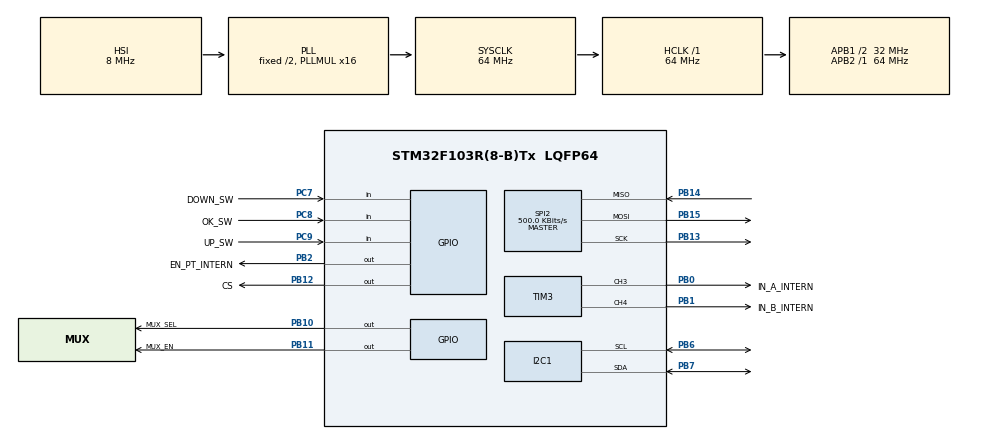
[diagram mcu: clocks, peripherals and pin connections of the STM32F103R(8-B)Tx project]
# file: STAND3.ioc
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Mcu.Family=STM32F1
Mcu.Name=STM32F103R(8-B)Tx
Mcu.Package=LQFP64
NVIC.PriorityGroup=NVIC_PRIORITYGROUP_4
PA13.Mode=Serial_Wire
PA13.Signal=SYS_JTMS-SWDIO
PA14.Mode=Serial_Wire
PA14.Signal=SYS_JTCK-SWCLK
PB0.GPIO_Label=IN_A_INTERN
PB0.Signal=S_TIM3_CH3
PB1.GPIO_Label=IN_B_INTERN
PB1.Signal=S_TIM3_CH4
PB10.GPIO_Label=MUX_SEL
PB10.Signal=GPIO_Output
PB11.GPIO_Label=MUX_EN
PB11.PinState=GPIO_PIN_SET
PB11.Signal=GPIO_Output
PB12.GPIO_Label=CS
PB12.PinState=GPIO_PIN_SET
PB12.Signal=GPIO_Output
PB13.Mode=Full_Duplex_Master
PB13.Signal=SPI2_SCK
PB14.Mode=Full_Duplex_Master
PB14.Signal=SPI2_MISO
PB15.Mode=Full_Duplex_Master
PB15.Signal=SPI2_MOSI
PB2.GPIO_Label=EN_PT_INTERN
PB2.Signal=GPIO_Output
PB6.Mode=I2C
PB6.Signal=I2C1_SCL
PB7.Mode=I2C
PB7.Signal=I2C1_SDA
PC7.GPIO_Label=DOWN_SW
PC7.GPIO_PuPd=GPIO_PULLDOWN
PC7.Signal=GPIO_Input
PC8.GPIO_Label=OK_SW
PC8.GPIO_PuPd=GPIO_PULLDOWN
PC8.Signal=GPIO_Input
PC9.GPIO_Label=UP_SW
PC9.GPIO_PuPd=GPIO_PULLDOWN
PC9.Signal=GPIO_Input
ProjectManager.HeapSize=0x200
ProjectManager.StackSize=0x400
ProjectManager.TargetToolchain=EWARM V8.32
RCC.AHBFreq_Value=64000000
RCC.APB1CLKDivider=RCC_HCLK_DIV2
RCC.APB1Freq_Value=32000000
RCC.APB1TimFreq_Value=64000000
RCC.APB2Freq_Value=64000000
RCC.APB2TimFreq_Value=64000000
RCC.HCLKFreq_Value=64000000
RCC.PLLMUL=RCC_PLL_MUL16
RCC.SYSCLKFreq_VALUE=64000000
RCC.SYSCLKSource=RCC_SYSCLKSOURCE_PLLCLK
RCC.USBFreq_Value=64000000
SH.S_TIM3_CH3.0=TIM3_CH3,PWM Generation3 CH3
SH.S_TIM3_CH4.0=TIM3_CH4,PWM Generation4 CH4
SPI2.BaudRatePrescaler=SPI_BAUDRATEPRESCALER_64
SPI2.CLKPhase=SPI_PHASE_2EDGE
SPI2.CalculateBaudRate=500.0 KBits/s
SPI2.Direction=SPI_DIRECTION_2LINES
SPI2.Mode=SPI_MODE_MASTER
SPI2.VirtualType=VM_MASTER
TIM3.Channel-PWM\ Generation3\ CH3=TIM_CHANNEL_3
TIM3.Channel-PWM\ Generation4\ CH4=TIM_CHANNEL_4
board=custom

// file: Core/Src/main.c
/* USER CODE BEGIN Header */
/**
  ******************************************************************************
  * @file           : main.c
  * @brief          : Stand3 - Peltier temperature controller
  *                   MAX31865 RTD sensor, H-bridge Peltier drive,
  *                   SSD1306 OLED menu, PID temperature control.
  ******************************************************************************
  */
/* USER CODE END Header */
#include "main.h"
#include "i2c.h"
#include "spi.h"
#include "tim.h"
#include "gpio.h"

/* USER CODE BEGIN Includes */
#include "u8g2.h"
#include "config_menu.h"
#include "max31865.h"
#include <stdio.h>
#include <string.h>
#include <math.h>
/* USER CODE END Includes */

/* USER CODE BEGIN PD */
#define I2C_ADDRESS  0x3C

/* MUX control */
#define MUX_EN_ACTIVE_HIGH  0u

/* Buttons */
#define LONG_PRESS_TIME_MS    1000u
#define DEBOUNCE_STABLE_COUNT 1u

/* PID update interval */
#define PID_UPDATE_MS  1000u
/* USER CODE END PD */

/* USER CODE BEGIN PM */
#define READ_PIN(port,pin)  (HAL_GPIO_ReadPin((port),(pin)) == GPIO_PIN_SET)
/* USER CODE END PM */

/* USER CODE BEGIN PV */

/* ---- Temperature from MAX31865 ---- */
static float    g_temp_celsius = 0.0f;
static uint16_t g_rtd_raw = 0;
static uint8_t  g_rtd_fault = 0;

/* ---- MAX31865 device handle ---- */
static Max31865_t g_max31865;

/* ---- Bidirectional PID Controller ---- */
typedef struct {
    float Kp, Ki, Kd;
    float integral;
    float prev_measurement; /* derivative on measurement, not error */
    float output;           /* -95..+95: negative=cool, positive=heat */
    uint8_t first;          /* first cycle flag */
} pid_ctrl_t;

static pid_ctrl_t g_pid = {
    .Kp = 6.0f,
    .Ki = 0.1f,
    .Kd = 2.0f,
    .integral = 0.0f,
    .prev_measurement = 0.0f,
    .output = 0.0f,
    .first = 1,
};

/* USER CODE END PV */

void SystemClock_Config(void);

/* USER CODE BEGIN 0 */

/* =======================================================================
   U8G2 I2C callbacks  (identical to Stand1/Stand2)
   ======================================================================= */
uint8_t u8x8_byte_stm32hal_hw_i2c(u8x8_t *u8x8, uint8_t msg,
                                    uint8_t arg_int, void *arg_ptr)
{
  (void)u8x8;
  static uint8_t buffer[32];
  static uint8_t buf_idx;
  uint8_t *data;

  switch (msg)
  {
    case U8X8_MSG_BYTE_SEND:
      data = (uint8_t *)arg_ptr;
      while (arg_int-- > 0) {
        if (buf_idx < sizeof(buffer)) buffer[buf_idx++] = *data;
        data++;
      }
      return 1;

    case U8X8_MSG_BYTE_START_TRANSFER:
      buf_idx = 0;
      return 1;

    case U8X8_MSG_BYTE_END_TRANSFER:
    {
      uint8_t iaddr = I2C_ADDRESS;
      (void)HAL_I2C_Master_Transmit(&hi2c1, (uint16_t)iaddr << 1,
                                     buffer, buf_idx, 50u);
      return 1;
    }
    default:
      return 1;
  }
}

uint8_t psoc_gpio_and_delay_cb(u8x8_t *u8x8, uint8_t msg,
                                uint8_t arg_int, void *arg_ptr)
{
  (void)u8x8; (void)arg_ptr;
  switch (msg)
  {
    case U8X8_MSG_GPIO_AND_DELAY_INIT: return 1;
    case U8X8_MSG_DELAY_NANO:
    {
      volatile uint32_t n = (uint32_t)arg_int * 10u;
      while (n--) ;
      return 1;
    }
    case U8X8_MSG_DELAY_MILLI:
      HAL_Delay((uint32_t)arg_int);
      return 1;
    default:
      u8x8_SetGPIOResult(u8x8, 1);
      return 1;
  }
}

/* =======================================================================
   Buttons  (3 buttons: UP, DOWN, OK)
   ======================================================================= */
typedef enum {
  BTN_NONE = 0,
  BTN_UP   = (1u << 0),
  BTN_DOWN = (1u << 1),
  BTN_OK   = (1u << 2),
} btn_mask_t;

static btn_mask_t buttons_read_raw(void)
{
  btn_mask_t m = BTN_NONE;
  if (READ_PIN(UP_SW_GPIO_Port,   UP_SW_Pin))   m |= BTN_UP;
  if (READ_PIN(DOWN_SW_GPIO_Port, DOWN_SW_Pin))  m |= BTN_DOWN;
  if (READ_PIN(OK_SW_GPIO_Port,   OK_SW_Pin))    m |= BTN_OK;
  return m;
}

static btn_mask_t buttons_get_pressed_edge(void)
{
  static btn_mask_t last_stable = BTN_NONE;
  static btn_mask_t last_raw    = BTN_NONE;
  static uint8_t    stable_cnt  = 0;

  btn_mask_t now_raw = buttons_read_raw();

  if (now_raw == last_raw) {
    if (stable_cnt < DEBOUNCE_STABLE_COUNT) stable_cnt++;
  } else {
    stable_cnt = 0;
    last_raw = now_raw;
  }

  btn_mask_t stable = last_stable;
  if (stable_cnt >= DEBOUNCE_STABLE_COUNT) stable = now_raw;

  btn_mask_t edge = (btn_mask_t)(stable & (btn_mask_t)~last_stable);
  last_stable = stable;
  return edge;
}

static btn_mask_t buttons_get_long_press(void)
{
  static btn_mask_t last_stable = BTN_NONE;
  static btn_mask_t last_raw    = BTN_NONE;
  static uint8_t    stable_cnt  = 0;
  static uint32_t   press_start = 0;

  btn_mask_t now_raw = buttons_read_raw();
  uint32_t now = HAL_GetTick();

  if (now_raw == last_raw) {
    if (stable_cnt < DEBOUNCE_STABLE_COUNT) stable_cnt++;
  } else {
    stable_cnt = 0;
    last_raw = now_raw;
    if (now_raw != BTN_NONE) press_start = now;
  }

  btn_mask_t stable = last_stable;
  if (stable_cnt >= DEBOUNCE_STABLE_COUNT) stable = now_raw;

  btn_mask_t lp = BTN_NONE;
  if (stable != BTN_NONE && (now - press_start) >= LONG_PRESS_TIME_MS) {
    lp = stable;
  }
  last_stable = stable;
  return lp;
}

/* =======================================================================
   Bidirectional PID Controller
   Output range: -95 .. +95
     positive → HEAT  (current flows one direction)
     negative → COOL  (current flows opposite direction)

   Uses "derivative on measurement" to avoid derivative kick
   when the setpoint changes.
   ======================================================================= */
static void pid_reset(pid_ctrl_t *pid)
{
    pid->integral         = 0.0f;
    pid->prev_measurement = 0.0f;
    pid->output           = 0.0f;
    pid->first            = 1;
}

static float pid_update(pid_ctrl_t *pid, float setpoint, float measured)
{
    float error = setpoint - measured;

    /* Integral with anti-windup */
    pid->integral += error;
    float integral_max = 90.0f / pid->Ki;
    if (pid->integral >  integral_max) pid->integral =  integral_max;
    if (pid->integral < -integral_max) pid->integral = -integral_max;

    /* Derivative on MEASUREMENT (not error) — avoids kick on setpoint change.
       d/dt(error) = d/dt(setpoint - measured) → when setpoint jumps,
       the derivative spikes.  Using -d/dt(measured) instead. */
    float derivative = 0.0f;
    if (pid->first) {
        pid->first = 0;
    } else {
        derivative = -(measured - pid->prev_measurement);
    }
    pid->prev_measurement = measured;

    float out = pid->Kp * error
              + pid->Ki * pid->integral
              + pid->Kd * derivative;

    /* Light smoothing */
    out = pid->output * 0.2f + out * 0.8f;

    /* Clamp to ±95% */
    if (out >  95.0f) out =  95.0f;
    if (out < -95.0f) out = -95.0f;

    pid->output = out;
    return out;
}

/* =======================================================================
   H-Bridge Peltier control (TIM3 CH3/CH4 on PB0/PB1)
   ======================================================================= */
typedef enum { PELTIER_OFF = 0, PELTIER_HEAT, PELTIER_COOL } peltier_mode_t;
static peltier_mode_t g_peltier_mode = PELTIER_OFF;

static uint32_t duty_to_ccr(TIM_HandleTypeDef *htim, uint32_t duty_percent)
{
  uint32_t arr = __HAL_TIM_GET_AUTORELOAD(htim);
  uint32_t ccr = (arr + 1u) * duty_percent / 100u;
  if (ccr > arr) ccr = arr;
  return ccr;
}

static void peltier_set_enable(uint8_t en)
{
  HAL_GPIO_WritePin(EN_PT_INTERN_GPIO_Port, EN_PT_INTERN_Pin,
                    en ? GPIO_PIN_SET : GPIO_PIN_RESET);
}

static void peltier_set_pwm(uint32_t duty_percent)
{
  uint32_t ccr = duty_to_ccr(&htim3, duty_percent);

  /* SAFE FIRST: PWM=0 */
  __HAL_TIM_SET_COMPARE(&htim3, TIM_CHANNEL_3, 0u);
  __HAL_TIM_SET_COMPARE(&htim3, TIM_CHANNEL_4, 0u);

  if (g_peltier_mode == PELTIER_HEAT) {
    peltier_set_enable(1u);
    __HAL_TIM_SET_COMPARE(&htim3, TIM_CHANNEL_3, ccr);
    __HAL_TIM_SET_COMPARE(&htim3, TIM_CHANNEL_4, 0u);
  } else if (g_peltier_mode == PELTIER_COOL) {
    peltier_set_enable(1u);
    __HAL_TIM_SET_COMPARE(&htim3, TIM_CHANNEL_3, 0u);
    __HAL_TIM_SET_COMPARE(&htim3, TIM_CHANNEL_4, ccr);
  } else {
    peltier_set_enable(0u);
  }
}

static void peltier_stop(void)
{
  g_peltier_mode = PELTIER_OFF;
  __HAL_TIM_SET_COMPARE(&htim3, TIM_CHANNEL_3, 0u);
  __HAL_TIM_SET_COMPARE(&htim3, TIM_CHANNEL_4, 0u);
  peltier_set_enable(0u);
}

/* =======================================================================
   MUX control (internal / external switching)
   ======================================================================= */
typedef enum { PELTIER_CTRL_INTERNAL = 0, PELTIER_CTRL_EXTERNAL = 1 } peltier_ctrl_src_t;
static peltier_ctrl_src_t g_peltier_ctrl_src = PELTIER_CTRL_INTERNAL;

static void mux_enable(uint8_t en)
{
#if (MUX_EN_ACTIVE_HIGH == 1u)
  HAL_GPIO_WritePin(MUX_EN_GPIO_Port, MUX_EN_Pin,
                    en ? GPIO_PIN_SET : GPIO_PIN_RESET);
#else
  HAL_GPIO_WritePin(MUX_EN_GPIO_Port, MUX_EN_Pin,
                    en ? GPIO_PIN_RESET : GPIO_PIN_SET);
#endif
}

static void mux_select(peltier_ctrl_src_t src)
{
  HAL_GPIO_WritePin(MUX_SEL_GPIO_Port, MUX_SEL_Pin,
                    (src == PELTIER_CTRL_EXTERNAL) ? GPIO_PIN_SET : GPIO_PIN_RESET);
}

static void peltier_set_source(peltier_ctrl_src_t src)
{
  /* disable mux first */
  mux_enable(0u);

  /* stop peltier */
  peltier_stop();
  HAL_Delay(2);

  if (src == PELTIER_CTRL_EXTERNAL) {
    HAL_TIM_PWM_Stop(&htim3, TIM_CHANNEL_3);
    HAL_TIM_PWM_Stop(&htim3, TIM_CHANNEL_4);
    peltier_set_enable(0u);
  } else {
    HAL_TIM_PWM_Start(&htim3, TIM_CHANNEL_3);
    HAL_TIM_PWM_Start(&htim3, TIM_CHANNEL_4);
    peltier_set_enable(0u);
  }

  mux_select(src);
  HAL_Delay(2);
  mux_enable(1u);

  g_peltier_ctrl_src = src;
}

/* USER CODE END 0 */

int main(void)
{

  /* MCU Configuration--------------------------------------------------------*/

  /* Reset of all peripherals, Initializes the Flash interface and the Systick. */
  HAL_Init();

  /* Configure the system clock */
  SystemClock_Config();

  /* Initialize all configured peripherals */
  MX_GPIO_Init();
  MX_I2C1_Init();
  MX_SPI2_Init();
  MX_TIM3_Init();
  /* USER CODE BEGIN 2 */

  /* SAFE START: no output */
  peltier_set_enable(0u);
  __HAL_TIM_SET_COMPARE(&htim3, TIM_CHANNEL_3, 0u);
  __HAL_TIM_SET_COMPARE(&htim3, TIM_CHANNEL_4, 0u);

  HAL_TIM_PWM_Start(&htim3, TIM_CHANNEL_3);
  HAL_TIM_PWM_Start(&htim3, TIM_CHANNEL_4);

  peltier_stop();

  /* Default to internal control */
  peltier_set_source(PELTIER_CTRL_INTERNAL);

  /* ---- MAX31865 init (NimaLTD library) ---- */
  memset(&g_max31865, 0, sizeof(g_max31865));
  Max31865_init(&g_max31865, &hspi2, CS_GPIO_Port, CS_Pin, 2, 50);

  /* ---- I2C probe: check if OLED responds ---- */
  uint8_t i2c_ok = 0;
  if (HAL_I2C_IsDeviceReady(&hi2c1, 0x3C << 1, 3, 100) == HAL_OK) {
    i2c_ok = 1;
  } else if (HAL_I2C_IsDeviceReady(&hi2c1, 0x3D << 1, 3, 100) == HAL_OK) {
    i2c_ok = 2;
  }

  /* ---- OLED init ---- */
  static u8g2_t u8g2;
  u8g2_Setup_ssd1306_i2c_128x32_univision_1(
      &u8g2, U8G2_R0,
      u8x8_byte_stm32hal_hw_i2c,
      psoc_gpio_and_delay_cb);
  HAL_Delay(200);
  u8g2_InitDisplay(&u8g2);
  HAL_Delay(200);
  u8g2_SetPowerSave(&u8g2, 0);
  u8g2_SetFont(&u8g2, u8g2_font_helvB14_tr);

  /* Menu init */
  config_menu_init();

  config_peltier_state_t prev_peltier_st = CONFIG_PELTIER_STOP;
  config_ctrl_source_t   prev_ctrl_src   = CONFIG_CTRL_INTERNAL;

  /* USER CODE END 2 */

  /* Infinite loop */
  while (1)
  {

    /* USER CODE BEGIN 3 */

    /* ---- 1.  Read MAX31865 temperature ---- */
    /* NimaLTD library: each readTempC call does
       bias-on -> 10ms -> 1shot -> 65ms -> read -> bias-off.
       We call it every 1 second with smoothing filter. */
    {
      static uint32_t last_read_tick = 0;
      static float filtered_temp = 0.0f;
      static uint8_t first_read = 1;
      uint32_t now_t = HAL_GetTick();

      if ((now_t - last_read_tick) >= 1000u) {
        last_read_tick = now_t;

        float t = 0.0f;
        bool ok = Max31865_readTempC(&g_max31865, &t);

        if (ok) {
          if (first_read) {
            filtered_temp = t;
            first_read = 0;
          } else {
            filtered_temp = Max31865_Filter(t, filtered_temp, 0.3f);
          }
          g_temp_celsius = filtered_temp;
          /* Use the raw value already captured by readTempC;
             no need for a second readRTD call. */
          g_rtd_raw = g_max31865.last_rtd;
          g_rtd_fault = 0;
        } else {
          g_rtd_fault = Max31865_readFault(&g_max31865);
        }
      }
    }

    /* ---- 2.  Buttons ---- */
    btn_mask_t press      = buttons_get_pressed_edge();
    btn_mask_t long_press = buttons_get_long_press();

    int8_t cur = ctrl_menu_get_current_idx(&app_menu);

    /* Long press edge detection (one-shot) */
    static uint8_t lp_handled = 0;
    uint8_t lp_edge = 0;
    if (long_press & BTN_DOWN) {
      if (!lp_handled) { lp_edge = 1; lp_handled = 1; }
    } else {
      lp_handled = 0;
    }

    /* ---- 3.  Route buttons to menu ---- */
    if (cur == MENU_TEMP_INC || cur == MENU_TEMP_DEC) {
      /* Temp edit: UP=increase, DOWN=decrease, OK=back */
      if (press & BTN_UP)   config_menu_temp_increase();
      if (press & BTN_DOWN) config_menu_temp_decrease();
      if (press & BTN_OK)   config_menu_process_cmd(CTRL_MENU_CMD_BACK);
    } else if (cur == MENU_RUN) {
      /* State toggle: OK=toggle, long DOWN=back */
      if (lp_edge)        config_menu_process_cmd(CTRL_MENU_CMD_BACK);
      if (press & BTN_OK) config_menu_process_cmd(CTRL_MENU_CMD_ENTER);
    } else if (cur == MENU_SENSOR_VIEW || cur == MENU_INFO_VIEW ||
               cur == MENU_EXT_VIEW) {
      /* Info screens: OK=back, long DOWN=back */
      if (lp_edge)        config_menu_process_cmd(CTRL_MENU_CMD_BACK);
      if (press & BTN_OK) config_menu_process_cmd(CTRL_MENU_CMD_BACK);
    } else {
      /* Normal navigation */
      if (lp_edge) {
        config_menu_process_cmd(CTRL_MENU_CMD_BACK);
      } else {
        if (press & BTN_DOWN) config_menu_process_cmd(CTRL_MENU_CMD_UP);
      }
      if (press & BTN_UP)   config_menu_process_cmd(CTRL_MENU_CMD_DOWN);
      if (press & BTN_OK)   config_menu_process_cmd(CTRL_MENU_CMD_ENTER);
    }

    /* ---- 4.  Control source change (MUX switch) ---- */
    config_ctrl_source_t ctrl_src = config_menu_get_ctrl_source();
    if (ctrl_src != prev_ctrl_src) {
      if (ctrl_src == CONFIG_CTRL_EXTERNAL) {
        peltier_set_source(PELTIER_CTRL_EXTERNAL);
      } else {
        peltier_set_source(PELTIER_CTRL_INTERNAL);
      }
      prev_ctrl_src = ctrl_src;
    }

    /* ---- 5.  Peltier state change ---- */
    config_peltier_state_t peltier_st = config_menu_get_peltier_state();
    if (peltier_st != prev_peltier_st) {
      if (peltier_st == CONFIG_PELTIER_RUN && ctrl_src == CONFIG_CTRL_INTERNAL) {
        pid_reset(&g_pid);
        /* PID will decide direction on first update */
      } else {
        peltier_stop();
      }
      prev_peltier_st = peltier_st;
    }

    /* ---- 6.  Bidirectional PID temperature control ---- */
    if (peltier_st == CONFIG_PELTIER_RUN && ctrl_src == CONFIG_CTRL_INTERNAL) {
      static uint32_t last_pid = 0;
      static peltier_mode_t last_dir = PELTIER_OFF;
      static uint32_t dir_change_tick = 0;
      static float prev_target = -999.0f;
      uint32_t now = HAL_GetTick();

      if ((now - last_pid) >= PID_UPDATE_MS) {
        last_pid = now;
        float target  = (float)config_menu_get_temp_target();
        float measured = g_temp_celsius;

        /* Reset integral when setpoint changes to avoid windup carryover */
        if (target != prev_target) {
          g_pid.integral = 0.0f;
          g_pid.first    = 1;
          prev_target    = target;
        }

        float out = pid_update(&g_pid, target, measured);

        /* Determine desired direction */
        peltier_mode_t desired_dir;
        uint32_t duty;
        if (out > 0.5f) {
          desired_dir = PELTIER_HEAT;
          duty = (uint32_t)out;
          if (duty < 8u) duty = 8u; /* minimum to actually move */
        } else if (out < -0.5f) {
          desired_dir = PELTIER_COOL;
          duty = (uint32_t)(-out);
          if (duty < 8u) duty = 8u;
        } else {
          desired_dir = PELTIER_OFF;
          duty = 0u;
        }

        /* Direction-change lockout: must stay in one direction
           for at least 5 seconds before switching to prevent
           rapid heat/cool toggling that stresses the Peltier. */
        if (desired_dir != last_dir && desired_dir != PELTIER_OFF
            && last_dir != PELTIER_OFF) {
          if ((now - dir_change_tick) < 5000u) {
            /* Too soon to reverse — just turn off for now */
            desired_dir = PELTIER_OFF;
            duty = 0u;
          }
        }

        if (desired_dir != last_dir) {
          dir_change_tick = now;
          last_dir = desired_dir;
        }

        g_peltier_mode = desired_dir;
        peltier_set_pwm(duty);
      }
    }

    /* ---- 7.  Display ---- */
    int8_t idx = ctrl_menu_get_current_idx(&app_menu);

    /* Detect siblings for arrow indicators */
    int8_t par = menu_items[idx].parent_id;
    uint8_t has_prev = 0, has_next = 0;
    if (idx != MENU_TEMP_INC && idx != MENU_TEMP_DEC &&
        idx != MENU_RUN && idx != MENU_SENSOR_VIEW &&
        idx != MENU_INFO_VIEW && idx != MENU_EXT_VIEW)
    {
      for (int8_t i = idx - 1; i >= 0; i--) {
        if (menu_items[i].parent_id == par) { has_prev = 1; break; }
      }
      for (int8_t i = idx + 1; i < MENU_COUNT; i++) {
        if (menu_items[i].parent_id == par) { has_next = 1; break; }
      }
    }

    u8g2_FirstPage(&u8g2);
    do {
      /* Navigation arrows */
      if (has_prev) {
        u8g2_DrawTriangle(&u8g2, 0, 16, 9, 7, 9, 25);
      }
      if (has_next) {
        u8g2_DrawTriangle(&u8g2, 127, 16, 118, 7, 118, 25);
      }

      switch (idx) {

        /* ------ Live Sensor View ------ */
        case MENU_SENSOR_VIEW:
        {
          char line1[24], line2[24];
          int32_t t_int = (int32_t)g_temp_celsius;
          float r_ohm = (float)g_rtd_raw * MAX31865_RREF / 32768.0f;
          int32_t r_x10 = (int32_t)(r_ohm * 10.0f);
          snprintf(line1, sizeof(line1), "T:%ld%cC R:%ld.%ld",
                   (long)t_int, 0xB0, (long)(r_x10/10), (long)(r_x10%10));
          snprintf(line2, sizeof(line2), "ADC:%u F:%02X",
                   (unsigned)g_rtd_raw, g_rtd_fault);
          u8g2_SetFont(&u8g2, u8g2_font_6x10_tr);
          u8g2_DrawStr(&u8g2, 0, 12, line1);
          u8g2_DrawStr(&u8g2, 0, 28, line2);
          break;
        }

        /* ------ Temperature target edit ------ */
        case MENU_TEMP_INC:
        case MENU_TEMP_DEC:
        {
          char buf[16];
          snprintf(buf, sizeof(buf), "%ld \xB0" "C",
                   (long)config_menu_get_temp_target());
          u8g2_SetFont(&u8g2, u8g2_font_helvB24_te);
          u8g2_uint_t w = u8g2_GetStrWidth(&u8g2, buf);
          u8g2_DrawStr(&u8g2, (128 - w) / 2, 30, buf);
          break;
        }

        /* ------ Run / Stop toggle ------ */
        case MENU_RUN:
        {
          const char *txt =
              (config_menu_get_peltier_state() == CONFIG_PELTIER_STOP)
                  ? "RUN" : "STOP";
          u8g2_SetFont(&u8g2, u8g2_font_helvB24_tr);
          u8g2_uint_t w = u8g2_GetStrWidth(&u8g2, txt);
          u8g2_DrawStr(&u8g2, (128 - w) / 2, 30, txt);
          break;
        }

        /* ------ External view ------ */
        case MENU_EXT_VIEW:
        {
          char line1[22];
          int32_t t_int = (int32_t)g_temp_celsius;
          snprintf(line1, sizeof(line1), "T: %ld \xB0" "C",
                   (long)t_int);
          u8g2_SetFont(&u8g2, u8g2_font_helvB14_te);
          u8g2_uint_t w1 = u8g2_GetStrWidth(&u8g2, line1);
          u8g2_DrawStr(&u8g2, (128 - w1) / 2, 14, line1);
          u8g2_DrawStr(&u8g2, 20, 30, "EXTERNAL");
          break;
        }

        /* ------ System info view ------ */
        case MENU_INFO_VIEW:
        {
          char line1[22], line2[22];
          int32_t t_int = (int32_t)g_temp_celsius;
          int32_t pwr_abs = (int32_t)(g_pid.output >= 0 ? g_pid.output : -g_pid.output);
          const char *dir = (g_peltier_mode == PELTIER_HEAT) ? "H" :
                            (g_peltier_mode == PELTIER_COOL) ? "C" : "-";
          snprintf(line1, sizeof(line1), "%s %ld%%",
                   dir, (long)pwr_abs);
          snprintf(line2, sizeof(line2), "T:%ld\xB0" "C S:%ld\xB0" "C",
                   (long)t_int,
                   (long)config_menu_get_temp_target());
          u8g2_SetFont(&u8g2, u8g2_font_helvB12_te);
          u8g2_uint_t w1i = u8g2_GetStrWidth(&u8g2, line1);
          u8g2_uint_t w2i = u8g2_GetStrWidth(&u8g2, line2);
          u8g2_DrawStr(&u8g2, (128 - w1i) / 2, 14, line1);
          u8g2_DrawStr(&u8g2, (128 - w2i) / 2, 30, line2);
          break;
        }

        /* ------ Default: show menu item name ------ */
        default:
        {
          const char *name = menu_items[idx].name;
          u8g2_SetFont(&u8g2, u8g2_font_helvB14_tr);
          u8g2_uint_t w = u8g2_GetStrWidth(&u8g2, name);
          u8g2_DrawStr(&u8g2, (128 - w) / 2, 24, name);
          break;
        }
      }
    } while (u8g2_NextPage(&u8g2));

    HAL_Delay(10);
  }
  /* USER CODE END 3 */
}

void SystemClock_Config(void)
{
  RCC_OscInitTypeDef RCC_OscInitStruct = {0};
  RCC_ClkInitTypeDef RCC_ClkInitStruct = {0};

  /** Initializes the RCC Oscillators according to the specified parameters
  * in the RCC_OscInitTypeDef structure.
  */
  RCC_OscInitStruct.OscillatorType = RCC_OSCILLATORTYPE_HSI;
  RCC_OscInitStruct.HSIState = RCC_HSI_ON;
  RCC_OscInitStruct.HSICalibrationValue = RCC_HSICALIBRATION_DEFAULT;
  RCC_OscInitStruct.PLL.PLLState = RCC_PLL_ON;
  RCC_OscInitStruct.PLL.PLLSource = RCC_PLLSOURCE_HSI_DIV2;
  RCC_OscInitStruct.PLL.PLLMUL = RCC_PLL_MUL16;
  if (HAL_RCC_OscConfig(&RCC_OscInitStruct) != HAL_OK)
  {
    Error_Handler();
  }

  /** Initializes the CPU, AHB and APB buses clocks
  */
  RCC_ClkInitStruct.ClockType = RCC_CLOCKTYPE_HCLK|RCC_CLOCKTYPE_SYSCLK
                              |RCC_CLOCKTYPE_PCLK1|RCC_CLOCKTYPE_PCLK2;
  RCC_ClkInitStruct.SYSCLKSource = RCC_SYSCLKSOURCE_PLLCLK;
  RCC_ClkInitStruct.AHBCLKDivider = RCC_SYSCLK_DIV1;
  RCC_ClkInitStruct.APB1CLKDivider = RCC_HCLK_DIV2;
  RCC_ClkInitStruct.APB2CLKDivider = RCC_HCLK_DIV1;

  if (HAL_RCC_ClockConfig(&RCC_ClkInitStruct, FLASH_LATENCY_2) != HAL_OK)
  {
    Error_Handler();
  }
}

void Error_Handler(void)
{
  __disable_irq();
  while (1)
  {
  }
}
